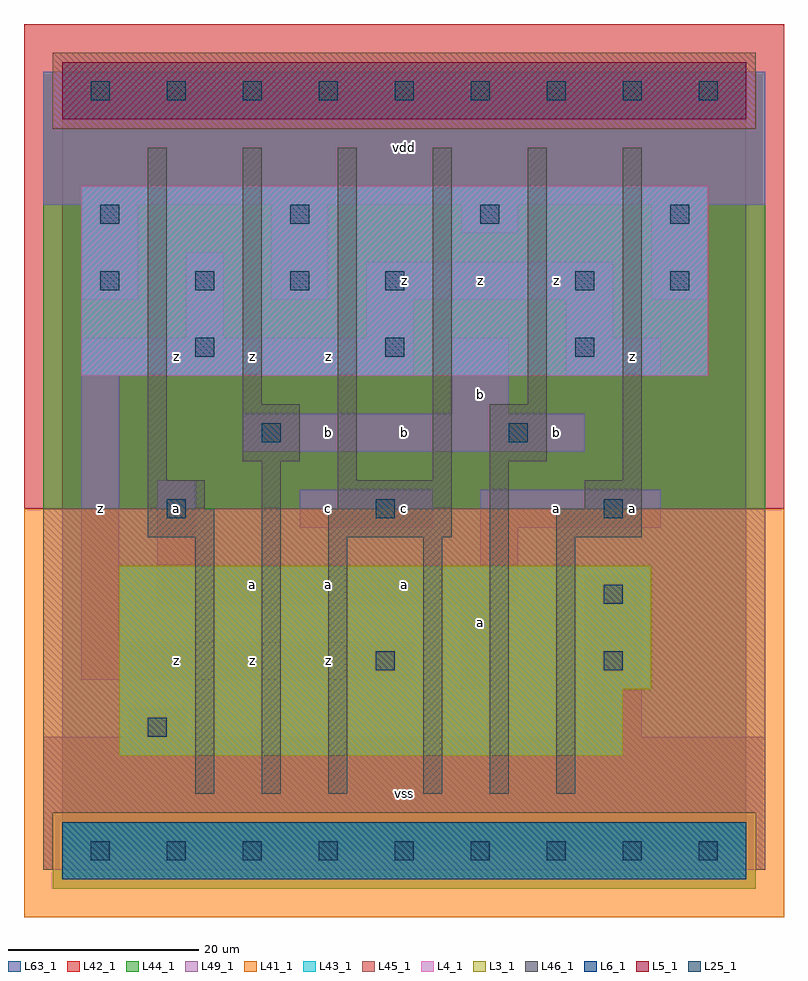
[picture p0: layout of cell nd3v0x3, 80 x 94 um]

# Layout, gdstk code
import gdstk
lib = gdstk.Library(unit=1e-6, precision=1e-09)
def R(c, l, rs):  # rectangles x0, y0, x1, y1
    for r in rs: c.add(gdstk.rectangle(r[:2], r[2:], *l))
def A(c, l, x, y, w, h, nx, ny, dx, dy):  # array of equal rectangles
    R(c, l, [(x+i*dx, y+j*dy, x+i*dx+w, y+j*dy+h) for i in range(nx) for j in range(ny)])
L3_1 = (3, 1)
L4_1 = (4, 1)
L5_1 = (5, 1)
L6_1 = (6, 1)
L25_1 = (25, 1)
L41_1 = (41, 1)
L42_1 = (42, 1)
L43_1 = (43, 1)
L44_1 = (44, 1)
L45_1 = (45, 1)
L46_1 = (46, 1)
L49_1 = (49, 1)
L63_1 = (63, 1)

nd3v0x3 = lib.new_cell('nd3v0x3')
R(nd3v0x3, L3_1, [(6,10,59,17), (6,17,62,30)])
R(nd3v0x3, L4_1, [(2,50,68,70)])
R(nd3v0x3, L5_1, [(0,77,72,83)])
R(nd3v0x3, L6_1, [(0,-3,72,3), (0,-3,72,3)])
A(nd3v0x3, L25_1, 3, -1, 2, 2, 9, 2, 8, 80)
A(nd3v0x3, L25_1, 14, 52, 2, 2, 3, 1, 20, 0)
A(nd3v0x3, L25_1, 4, 59, 2, 2, 4, 1, 10, 0)
A(nd3v0x3, L25_1, 4, 66, 2, 2, 4, 1, 20, 0)
R(nd3v0x3, L25_1, [(9,12,11,14), (33,19,35,21), (57,19,59,21), (57,26,59,28), (11,35,13,37), (33,35,35,37), (57,35,59,37), (21,43,23,45), (47,43,49,45), (54,59,56,61), (64,59,66,61)])
R(nd3v0x3, L41_1, [(-4,-7,76,36)])
R(nd3v0x3, L42_1, [(-4,36,76,87)])
R(nd3v0x3, L43_1, [(0,-3,72,3), (6,10,59,17), (6,17,62,30), (2,50,68,70), (0,77,72,83)])
R(nd3v0x3, L44_1, [(-1,-4,73,4), (-2,36,74,76), (-2,76,-1,82), (73,76,74,82)])
R(nd3v0x3, L45_1, [(-2,-2,-1,4), (73,-2,74,4), (-2,4,74,36), (-1,76,73,84)])
R(nd3v0x3, L46_1, [(14,6,16,33), (21,6,23,41), (28,6,30,33), (38,6,40,33), (45,6,47,41), (52,6,54,33), (9,33,16,36), (28,33,41,36), (52,33,61,36), (9,36,15,39), (29,36,41,39), (55,36,61,39), (9,39,11,74), (29,39,31,74), (39,39,41,74), (59,39,61,74), (19,41,25,47), (45,41,51,47), (19,47,21,74), (49,47,51,74)])
R(nd3v0x3, L49_1, [(-2,-2,74,12), (7,12,13,15), (55,12,61,29), (42,17,46,26), (2,18,37,22), (2,22,6,50), (10,26,48,30), (10,30,14,39), (44,30,48,34), (25,34,39,38), (44,34,63,38), (19,42,55,46), (41,46,47,54), (2,50,37,54), (53,50,63,54), (13,54,17,63), (32,54,37,58), (53,54,58,58), (2,58,8,68), (22,58,28,68), (32,58,58,62), (62,58,68,68), (42,65,48,68), (-2,68,74,82)])
R(nd3v0x3, L63_1, [(0,0,72,80)])
nd3v0x3.add(gdstk.Label('z', (4,36), layer=49, texttype=1))
nd3v0x3.add(gdstk.Label('z', (12,20), layer=49, texttype=1))
nd3v0x3.add(gdstk.Label('z', (20,20), layer=49, texttype=1))
nd3v0x3.add(gdstk.Label('a', (20,28), layer=49, texttype=1))
nd3v0x3.add(gdstk.Label('a', (12,36), layer=49, texttype=1))
nd3v0x3.add(gdstk.Label('z', (20,52), layer=49, texttype=1))
nd3v0x3.add(gdstk.Label('z', (12,52), layer=49, texttype=1))
nd3v0x3.add(gdstk.Label('vss', (36,6), layer=49, texttype=1))
nd3v0x3.add(gdstk.Label('z', (28,20), layer=49, texttype=1))
nd3v0x3.add(gdstk.Label('a', (28,28), layer=49, texttype=1))
nd3v0x3.add(gdstk.Label('a', (36,28), layer=49, texttype=1))
nd3v0x3.add(gdstk.Label('c', (28,36), layer=49, texttype=1))
nd3v0x3.add(gdstk.Label('b', (28,44), layer=49, texttype=1))
nd3v0x3.add(gdstk.Label('c', (36,36), layer=49, texttype=1))
nd3v0x3.add(gdstk.Label('b', (36,44), layer=49, texttype=1))
nd3v0x3.add(gdstk.Label('z', (28,52), layer=49, texttype=1))
nd3v0x3.add(gdstk.Label('z', (36,60), layer=49, texttype=1))
nd3v0x3.add(gdstk.Label('vdd', (36,74), layer=49, texttype=1))
nd3v0x3.add(gdstk.Label('a', (44,24), layer=49, texttype=1))
nd3v0x3.add(gdstk.Label('a', (52,36), layer=49, texttype=1))
nd3v0x3.add(gdstk.Label('b', (52,44), layer=49, texttype=1))
nd3v0x3.add(gdstk.Label('b', (44,48), layer=49, texttype=1))
nd3v0x3.add(gdstk.Label('z', (44,60), layer=49, texttype=1))
nd3v0x3.add(gdstk.Label('z', (52,60), layer=49, texttype=1))
nd3v0x3.add(gdstk.Label('a', (60,36), layer=49, texttype=1))
nd3v0x3.add(gdstk.Label('z', (60,52), layer=49, texttype=1))

lib.write_gds('nd3v0x3.gds')
